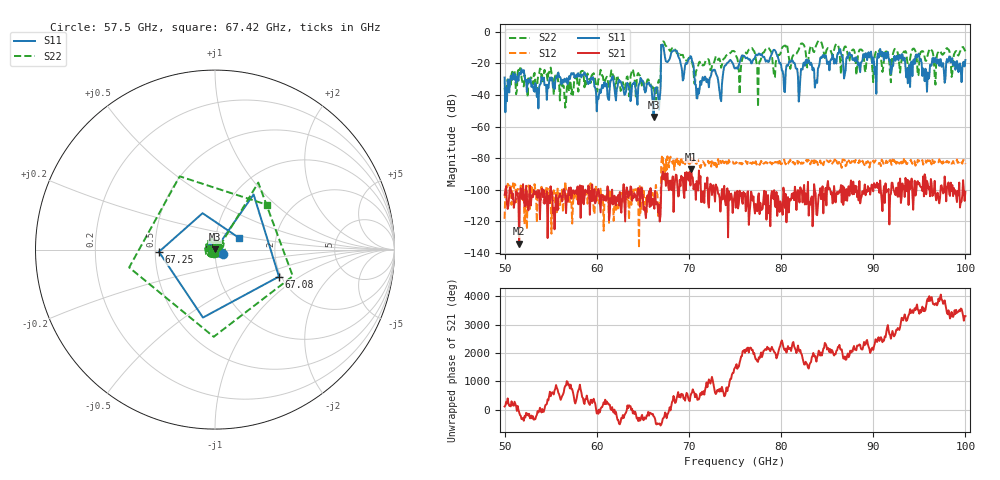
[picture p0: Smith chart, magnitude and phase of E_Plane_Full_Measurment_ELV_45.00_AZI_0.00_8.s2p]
! 11/26/2026 2:59:59 PM
! C:\ANRITSUVNA\TEMP\TEMP.S2P
! CHANNEL.1
! TR.MEASUREMENT
! RAW.DATA
# HZ S RI R 50.0
! FREQ.HZ  S11RE  S11IM  S21RE  S21IM  S12RE  S12IM  S22RE  S22IM
!; PortSelection: Port_12
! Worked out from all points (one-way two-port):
!   601 points, 50 GHz to 100 GHz, reference 50 ohm
!   highest |S21| = -86.82 dB at 70.25 GHz (marker M1); lowest = -134.0 dB at 51.58 GHz (marker M2)
!   lowest |S11| = -53.9 dB at 66.17 GHz (marker M3), VSWR 1.00, Z = 50.1 + j0.147 ohm
!   |S11| at or under -10 dB: start of sweep to 67 GHz; 67.25 GHz to end of sweep
!   |S22| runs from -48.1 to -5.6 dB; largest |S21 - S12| = 0.00015
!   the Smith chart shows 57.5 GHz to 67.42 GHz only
!   S11 on the Smith chart (normalised r, x): 57.5 GHz: 1.09, -0.05; 67.08 GHz: 1.95, -0.69; 67.25 GHz: 0.52, -0.01; 67.42 GHz: 1.29, +0.17
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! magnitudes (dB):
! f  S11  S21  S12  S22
! 50 GHz  -29.0  -103.1  -118.3  -35.5
! 51.58 GHz  -25.9  -134.0  -103.0  -25.6
! 53.42 GHz  -34.8  -100.9  -103.3  -34.8
! 57.5 GHz  -26.2  -100.4  -101.8  -34.7
! 58.42 GHz  -27.2  -107.7  -98.3  -24.8
! 60.17 GHz  -42.8  -99.4  -104.0  -30.4
! 66.17 GHz  -53.9  -108.1  -106.5  -34.1
! 66.67 GHz  -41.5  -114.3  -116.6  -31.6
! 67.08 GHz  -8.3  -91.1  -78.2  -6.8
! 67.25 GHz  -10.1  -93.2  -93.3  -6.2
! 67.42 GHz  -16.6  -89.5  -93.9  -8.3
! 70.25 GHz  -15.9  -86.8  -79.8  -18.7
! 70.92 GHz  -42.2  -95.6  -82.0  -23.2
! 75 GHz  -23.3  -101.4  -83.4  -13.0
! 77.58 GHz  -13.8  -102.2  -83.4  -21.7
! 78.5 GHz  -18.2  -103.9  -83.3  -10.8
! 79.33 GHz  -11.8  -109.8  -82.7  -28.8
! 80.25 GHz  -27.9  -98.6  -81.8  -9.4
! 83.42 GHz  -24.4  -123.0  -82.6  -10.8
! 91.67 GHz  -16.7  -99.4  -83.4  -15.2
! 95.83 GHz  -38.0  -94.4  -81.8  -16.5
! 100 GHz  -18.0  -101.1  -83.7  -12.5
